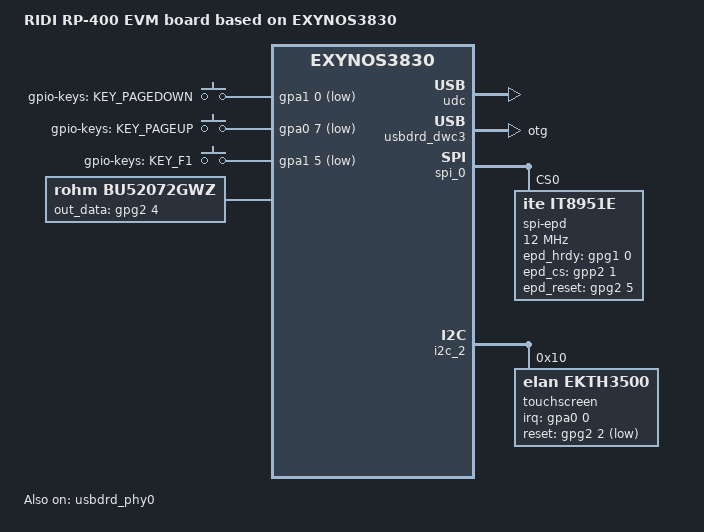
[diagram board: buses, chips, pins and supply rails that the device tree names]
/*
 * SAMSUNG EXYNOS3830 board device tree source
 *
 * Copyright (c) 2018 Samsung Electronics Co., Ltd.
 *		http://www.samsung.com
 *
 * This program is free software; you can redistribute it and/or modify
 * it under the terms of the GNU General Public License version 2 as
 * published by the Free Software Foundation.
*/

/dts-v1/;
/plugin/;
#include "rp400-board_common.dtsi"
#include "exynos3830-erd3830-cp-s318ap-sit.dtsi"

#define BOARD_ID	0x2
#define BOARD_REV	0x0

/ {
	compatible = "samsung,exynos3830", "samsung,ERD3830";
	board_id = <BOARD_ID>;
	board_rev = <BOARD_REV>;

	fragment@model {
		target-path = "/";
		__overlay__ {
			#address-cells = <2>;
			#size-cells = <1>;

			model = "RIDI RP-400 EVM board based on EXYNOS3830";

			usb_hs_tune:hs_tune {
				status = "disabled";
				hs_tune_cnt = <10>;
				/* value = <device host> */
				hs_tune1 {
					tune_name = "tx_pre_emp";
					tune_value = <0x3 0x3>;
				};

				hs_tune2 {
					tune_name = "tx_pre_emp_plus";
					tune_value = <0x0 0x0>;
				};

				hs_tune3 {
					tune_name = "tx_vref";
					tune_value = <0xf 0xf>;
				};

				hs_tune4 {
					tune_name = "rx_sqrx";
					tune_value = <0x7 0x7>;
				};

				hs_tune5 {
					tune_name = "tx_rise";
					tune_value = <0x3 0x3>;
				};

				hs_tune6 {
					tune_name = "compdis";
					tune_value = <0x7 0x7>;
				};

				hs_tune7 {
					tune_name = "tx_hsxv";
					tune_value = <0x3 0x3>;
				};

				hs_tune8 {
					tune_name = "tx_fsls";
					tune_value = <0x3 0x3>;
				};

				hs_tune9 {
					tune_name = "tx_res";
					tune_value = <0x3 0x3>;
				};

				hs_tune10 {
					tune_name = "utmi_clk";
					tune_value = <0x1 0x1>;
				};
			};
			usb_notifier {
				compatible = "samsung,usb-notifier";
				udc = <&udc>;
			};

			rp400_misc {
				compatible = "ridi,rp400-misc";
				pinctrl-names = "default";
			};

			gpio_keys {
				status = "okay";
				compatible = "gpio-keys";
				pinctrl-names = "default";
				pinctrl-0 = <&key_pagedown &key_pageup &key_function1>;

				button@1 {
					label = "gpio-keys: KEY_PAGEDOWN";
					linux,code = <109>;
					gpios = <&gpa1 0 0xf>;
				};
				button@2 {
					label = "gpio-keys: KEY_PAGEUP";
					linux,code = <104>;
					gpios = <&gpa0 7 0xf>;
				};
				button@3 {
					label = "gpio-keys: KEY_F1";
					linux,code = <59>;
					gpios = <&gpa1 5 0xf>;
				};
			};

			bu52072gwz {
				compatible = "rohm,bu52072gwz";
				pinctrl-names = "default";
				out_data-gpios = <&gpg2 4 0>;
			};
		}; /* end of __overlay__ */
	}; /* end of fragment */
}; /* end of root */

&udc {
	status = "okay";
};

&usbdrd_dwc3 {
	dr_mode = "otg";
	maximum-speed = "high-speed";
	snps,quirk-frame-length-adjustment = <0x20>;
	snps,u1u2_exitfail_quirk;
	/* ux_exit_in_px should be defined in MK, LT */
	snps,ux_exit_in_px_quirk;
	/* elastic_buf_mode_quirk should be defined in MK */
	snps,elastic_buf_mode_quirk;
	/* usb3-lpm-capable;
	snps,usb3_lpm_capable;
	adj-sof-accuracy = <1>; */
	/*
	 * dis-u2-freeclk-exists-quirk, dis_u2_susphy_quirk are alternative.
	 * One of them should be selected
	 */
	snps,dis-u2-freeclk-exists-quirk;
	/*snps,dis_u2_susphy_quirk;*/

	usb_audio_offloading = <0>;
//	abox = <&abox>; /* Temporary block */
};

&usbdrd_phy0 {
	status = "okay";
	usb3phy-isolation= <1>;
	pinctrl-names = "default";
//	pinctrl-0 = <&phy_port>;
//	phy,gpio_phy_port = <&gpg0 4 0x0>;
	hs_tune_param = <&usb_hs_tune>;
//	ss_tune_param = <&usb_ss_tune>;
};

#if 1
&spi_0 {
	pinctrl-names = "default";
	pinctrl-0 = <&spi0_bus>;
	#address-cells = <1>;
	#size-cells = <0>;
	status = "okay";

	spi-epd@0 {
		compatible = "ite,it8951e";
		reg = <0>;
		spi-max-frequency = <12000000>;
		epd_hrdy-gpios = <&gpg1 0 0>;
		epd_cs-gpios = <&gpp2 1 0>;
		epd_reset-gpios = <&gpg2 5 0>;
		controller-data {
			//cs-gpio = <&gpp2 1 0>;
			samsung,spi-feedback-delay = <0>;
		};
	};
};
#endif

&i2c_2 {
	status = "okay";
	#address-cells = <1>;
	#size-cells = <0>;
	touchscreen@10 {
		compatible = "elan,ekth3500";
		reg = <0x10>;
		elan,irq-gpio = <&gpa0 0 0>;
		elan,reset-gpio = <&gpg2 2 1>;
	};
};

&panel_0 {
	ddi_id = <0xfa>;
	lcd_info = <&lcd_dummy>;
};

